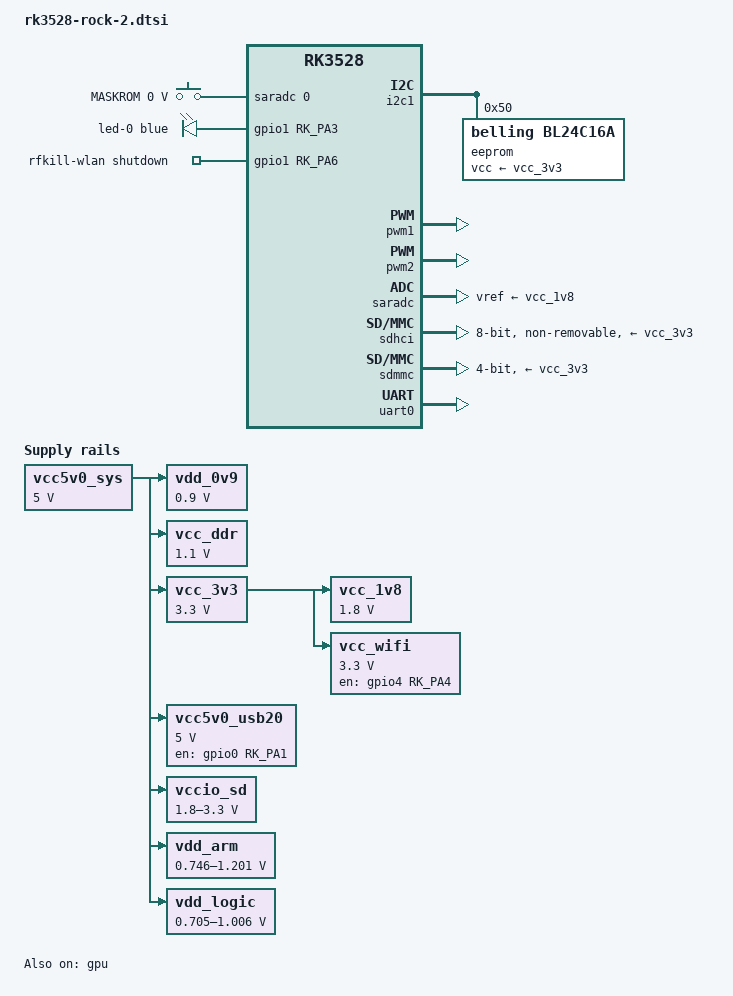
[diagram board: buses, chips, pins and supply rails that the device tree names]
// SPDX-License-Identifier: (GPL-2.0+ OR MIT)

/dts-v1/;

#include <dt-bindings/input/input.h>
#include <dt-bindings/leds/common.h>
#include <dt-bindings/pwm/pwm.h>
#include "rk3528.dtsi"

/ {
	aliases {
		i2c1 = &i2c1;
		mmc0 = &sdhci;
		mmc1 = &sdmmc;
		serial0 = &uart0;
	};

	chosen {
		stdout-path = "serial0:1500000n8";
	};

	adc-keys {
		compatible = "adc-keys";
		io-channels = <&saradc 0>;
		io-channel-names = "buttons";
		keyup-threshold-microvolt = <1800000>;
		poll-interval = <100>;

		button-maskrom {
			label = "MASKROM";
			linux,code = <KEY_SETUP>;
			press-threshold-microvolt = <0>;
		};
	};

	leds: leds {
		compatible = "gpio-leds";
		pinctrl-names = "default";
		pinctrl-0 = <&state_led_b>;

		led-0 {
			color = <LED_COLOR_ID_BLUE>;
			default-state = "on";
			function = LED_FUNCTION_HEARTBEAT;
			gpios = <&gpio1 RK_PA3 GPIO_ACTIVE_HIGH>;
			linux,default-trigger = "heartbeat";
		};
	};

	vdd_0v9: regulator-0v9-vdd {
		compatible = "regulator-fixed";
		regulator-name = "vdd_0v9";
		regulator-always-on;
		regulator-boot-on;
		regulator-min-microvolt = <900000>;
		regulator-max-microvolt = <900000>;
		vin-supply = <&vcc5v0_sys>;
	};

	vcc_ddr: regulator-1v1-vcc-ddr {
		compatible = "regulator-fixed";
		regulator-name = "vcc_ddr";
		regulator-always-on;
		regulator-boot-on;
		regulator-min-microvolt = <1100000>;
		regulator-max-microvolt = <1100000>;
		vin-supply = <&vcc5v0_sys>;
	};

	vcc_1v8: regulator-1v8-vcc {
		compatible = "regulator-fixed";
		regulator-name = "vcc_1v8";
		regulator-always-on;
		regulator-boot-on;
		regulator-min-microvolt = <1800000>;
		regulator-max-microvolt = <1800000>;
		vin-supply = <&vcc_3v3>;
	};

	vcc_3v3: regulator-3v3-vcc {
		compatible = "regulator-fixed";
		regulator-name = "vcc_3v3";
		regulator-always-on;
		regulator-boot-on;
		regulator-min-microvolt = <3300000>;
		regulator-max-microvolt = <3300000>;
		vin-supply = <&vcc5v0_sys>;
	};

	vcc_wifi: regulator-3v3-vcc-wifi {
		compatible = "regulator-fixed";
		enable-active-high;
		gpios = <&gpio4 RK_PA4 GPIO_ACTIVE_HIGH>;
		pinctrl-names = "default";
		pinctrl-0 = <&usb_wifi_pwr>;
		regulator-name = "vcc_wifi";
		regulator-min-microvolt = <3300000>;
		regulator-max-microvolt = <3300000>;
		vin-supply = <&vcc_3v3>;
	};

	vcc5v0_sys: regulator-5v0-vcc-sys {
		compatible = "regulator-fixed";
		regulator-name = "vcc5v0_sys";
		regulator-always-on;
		regulator-boot-on;
		regulator-min-microvolt = <5000000>;
		regulator-max-microvolt = <5000000>;
	};

	vcc5v0_usb20: regulator-5v0-vcc-usb20 {
		compatible = "regulator-fixed";
		enable-active-high;
		gpios = <&gpio0 RK_PA1 GPIO_ACTIVE_HIGH>;
		pinctrl-names = "default";
		pinctrl-0 = <&usb_host_en>;
		regulator-name = "vcc5v0_usb20";
		regulator-min-microvolt = <5000000>;
		regulator-max-microvolt = <5000000>;
		vin-supply = <&vcc5v0_sys>;
	};

	vccio_sd: regulator-vccio-sd {
		compatible = "regulator-gpio";
		gpios = <&gpio1 RK_PC1 GPIO_ACTIVE_HIGH>;
		pinctrl-names = "default";
		pinctrl-0 = <&sdmmc_vol_ctrl_h>;
		regulator-name = "vccio_sd";
		regulator-min-microvolt = <1800000>;
		regulator-max-microvolt = <3300000>;
		states = <1800000 0x0>, <3300000 0x1>;
		vin-supply = <&vcc5v0_sys>;
	};

	vdd_arm: regulator-vdd-arm {
		compatible = "pwm-regulator";
		pwms = <&pwm1 0 5000 PWM_POLARITY_INVERTED>;
		pwm-supply = <&vcc5v0_sys>;
		regulator-name = "vdd_arm";
		regulator-always-on;
		regulator-boot-on;
		regulator-min-microvolt = <746000>;
		regulator-max-microvolt = <1201000>;
		regulator-settling-time-up-us = <250>;
	};

	vdd_logic: regulator-vdd-logic {
		compatible = "pwm-regulator";
		pwms = <&pwm2 0 5000 PWM_POLARITY_INVERTED>;
		pwm-supply = <&vcc5v0_sys>;
		regulator-name = "vdd_logic";
		regulator-always-on;
		regulator-boot-on;
		regulator-min-microvolt = <705000>;
		regulator-max-microvolt = <1006000>;
		regulator-settling-time-up-us = <250>;
	};

	rfkill {
		compatible = "rfkill-gpio";
		label = "rfkill-wlan";
		pinctrl-names = "default";
		pinctrl-0 = <&wifi_reg_on_h>;
		radio-type = "wlan";
		shutdown-gpios = <&gpio1 RK_PA6 GPIO_ACTIVE_HIGH>;
	};
};

&cpu0 {
	cpu-supply = <&vdd_arm>;
};

&cpu1 {
	cpu-supply = <&vdd_arm>;
};

&cpu2 {
	cpu-supply = <&vdd_arm>;
};

&cpu3 {
	cpu-supply = <&vdd_arm>;
};

&gpu {
	mali-supply = <&vdd_logic>;
	status = "okay";
};

&i2c1 {
	pinctrl-names = "default";
	pinctrl-0 = <&i2c1m0_xfer>;
	status = "okay";

	eeprom@50 {
		compatible = "belling,bl24c16a", "atmel,24c16";
		reg = <0x50>;
		pagesize = <16>;
		read-only;
		vcc-supply = <&vcc_3v3>;
	};
};

&pinctrl {
	bluetooth {
		bt_wake_host_h: bt-wake-host-h {
			rockchip,pins = <1 RK_PC2 RK_FUNC_GPIO &pcfg_pull_down>;
		};

		host_wake_bt_h: host-wake-bt-h {
			rockchip,pins = <1 RK_PA5 RK_FUNC_GPIO &pcfg_pull_none>;
		};
	};

	leds {
		state_led_b: state-led-b {
			rockchip,pins = <1 RK_PA3 RK_FUNC_GPIO &pcfg_pull_none>;
		};
	};

	sdmmc {
		sdmmc_vol_ctrl_h: sdmmc-vol-ctrl-h {
			rockchip,pins = <1 RK_PC1 RK_FUNC_GPIO &pcfg_pull_none>;
		};
	};

	usb {
		usb_host_en: usb-host-en {
			rockchip,pins = <0 RK_PA1 RK_FUNC_GPIO &pcfg_pull_none>;
		};
	};

	wifi {
		usb_wifi_pwr: usb-wifi-pwr {
			rockchip,pins = <4 RK_PA4 RK_FUNC_GPIO &pcfg_pull_none>;
		};

		wifi_reg_on_h: wifi-reg-on-h {
			rockchip,pins = <1 RK_PA6 RK_FUNC_GPIO &pcfg_pull_none>;
		};

		wifi_wake_host_h: wifi-wake-host-h {
			rockchip,pins = <1 RK_PA7 RK_FUNC_GPIO &pcfg_pull_down>;
		};
	};
};

&pwm1 {
	pinctrl-names = "default";
	pinctrl-0 = <&pwm1m0_pins>;
	status = "okay";
};

&pwm2 {
	pinctrl-names = "default";
	pinctrl-0 = <&pwm2m0_pins>;
	status = "okay";
};

&saradc {
	vref-supply = <&vcc_1v8>;
	status = "okay";
};

&sdhci {
	bus-width = <8>;
	cap-mmc-highspeed;
	mmc-hs200-1_8v;
	no-sd;
	no-sdio;
	non-removable;
	vmmc-supply = <&vcc_3v3>;
	vqmmc-supply = <&vcc_1v8>;
	status = "okay";
};

&sdmmc {
	bus-width = <4>;
	cap-mmc-highspeed;
	cap-sd-highspeed;
	disable-wp;
	max-frequency = <100000000>;
	sd-uhs-sdr104;
	vmmc-supply = <&vcc_3v3>;
	vqmmc-supply = <&vccio_sd>;
	status = "okay";
};

&uart0 {
	pinctrl-names = "default";
	pinctrl-0 = <&uart0m0_xfer>;
	status = "okay";
};
